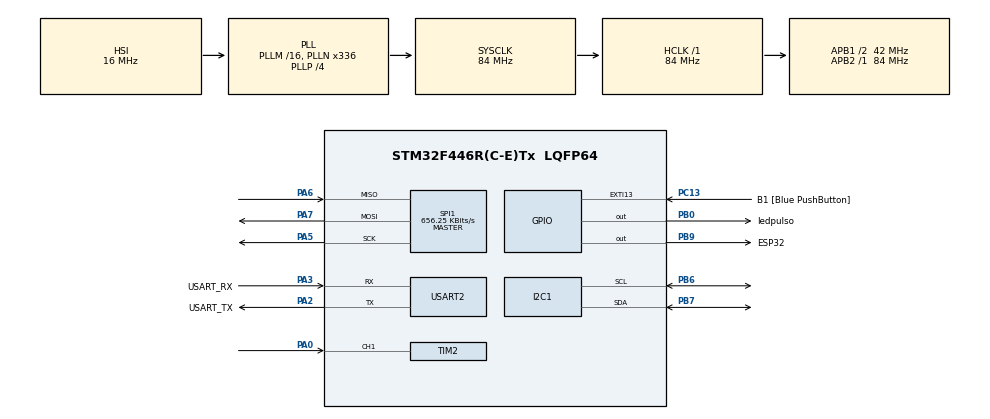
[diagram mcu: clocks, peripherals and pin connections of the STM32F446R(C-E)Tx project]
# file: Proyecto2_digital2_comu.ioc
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Mcu.Family=STM32F4
Mcu.Name=STM32F446R(C-E)Tx
Mcu.Package=LQFP64
NVIC.PriorityGroup=NVIC_PRIORITYGROUP_0
NVIC.SPI1_IRQn=true\:0\:0\:false\:false\:true\:true\:true\:true
NVIC.TIM2_IRQn=true\:0\:0\:false\:false\:true\:true\:true\:true
NVIC.USART2_IRQn=true\:0\:0\:false\:false\:true\:true\:true\:true
PA0-WKUP.Signal=S_TIM2_CH1_ETR
PA13.GPIO_Label=TMS
PA13.Signal=SYS_JTMS-SWDIO
PA14.GPIO_Label=TCK
PA14.Signal=SYS_JTCK-SWCLK
PA2.GPIO_Label=USART_TX
PA2.Mode=Asynchronous
PA2.Signal=USART2_TX
PA3.GPIO_Label=USART_RX
PA3.Mode=Asynchronous
PA3.Signal=USART2_RX
PA5.Mode=Full_Duplex_Master
PA5.Signal=SPI1_SCK
PA6.Mode=Full_Duplex_Master
PA6.Signal=SPI1_MISO
PA7.Mode=Full_Duplex_Master
PA7.Signal=SPI1_MOSI
PB0.GPIO_Label=ledpulso
PB0.Signal=GPIO_Output
PB3.GPIO_Label=SWO
PB3.Signal=SYS_JTDO-SWO
PB6.Mode=I2C
PB6.Signal=I2C1_SCL
PB7.Mode=I2C
PB7.Signal=I2C1_SDA
PB9.GPIO_Label=ESP32
PB9.PinState=GPIO_PIN_RESET
PB9.Signal=GPIO_Output
PC13.GPIO_Label=B1 [Blue PushButton]
PC13.GPIO_ModeDefaultEXTI=GPIO_MODE_IT_FALLING
PC13.Signal=GPXTI13
PC14-OSC32_IN.Signal=RCC_OSC32_IN
PC15-OSC32_OUT.Signal=RCC_OSC32_OUT
PH0-OSC_IN.Signal=RCC_OSC_IN
PH1-OSC_OUT.Signal=RCC_OSC_OUT
ProjectManager.HeapSize=0x200
ProjectManager.StackSize=0x400
ProjectManager.TargetToolchain=STM32CubeIDE
RCC.AHBFreq_Value=84000000
RCC.APB1CLKDivider=RCC_HCLK_DIV2
RCC.APB1Freq_Value=42000000
RCC.APB1TimFreq_Value=84000000
RCC.APB2Freq_Value=84000000
RCC.APB2TimFreq_Value=84000000
RCC.CortexFreq_Value=84000000
RCC.FLatency-AdvancedSettings=FLASH_LATENCY_2
RCC.HCLKFreq_Value=84000000
RCC.HSE_VALUE=8000000
RCC.HSI_VALUE=16000000
RCC.LSE_VALUE=32768
RCC.PLLN=336
RCC.PLLP=RCC_PLLP_DIV4
RCC.SYSCLKFreq_VALUE=84000000
RCC.SYSCLKSource=RCC_SYSCLKSOURCE_PLLCLK
RCC.USBFreq_Value=168000000
RCC.VCOOutputFreq_Value=336000000
SH.S_TIM2_CH1_ETR.0=TIM2_CH1,Input_Capture1_from_TI1
SPI1.BaudRatePrescaler=SPI_BAUDRATEPRESCALER_128
SPI1.CalculateBaudRate=656.25 KBits/s
SPI1.Direction=SPI_DIRECTION_2LINES
SPI1.Mode=SPI_MODE_MASTER
SPI1.VirtualType=VM_MASTER
TIM2.Channel-Input_Capture1_from_TI1=TIM_CHANNEL_1
TIM2.Prescaler=8399
USART2.VirtualMode=VM_ASYNC
VP_TIM2_VS_ClockSourceINT.Mode=Internal
board=NUCLEO-F446RE

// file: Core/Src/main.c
/* USER CODE BEGIN Header */
/**
  ******************************************************************************
  * @file           : main.c
  * @brief          : Proyecto 2 - Nucleo maestro UART / SPI / I2C (version con funciones)
  ******************************************************************************
  */
/* USER CODE END Header */
#include "main.h"

/* USER CODE BEGIN Includes */
#include <stdio.h>
#include <stdlib.h>
#include <string.h>
/* USER CODE END Includes */

/* USER CODE BEGIN PTD */
typedef enum {
  ESTADO_MENU,         // Esperando opcion 1 o 2
  ESTADO_SUBMENU_SPI   // Esperando comando "led,tiempo"
} EstadoMenu;
/* USER CODE END PTD */

/* USER CODE BEGIN PD */
#define DIRECCION_ESP32_I2C  (0x28 << 1)  // HAL usa la direccion desplazada
#define COMANDO_I2C_LEER_POT 0x01         // comando "dame una medicion"
#define ENCABEZADO_SPI       0xAA         // inicio de la trama SPI
#define LARGO_TRAMA_SPI      4            // [0xAA][led][ms alto][ms bajo]
#define LED_MAXIMO           3
#define TIEMPO_MAXIMO_MS     60000
#define LARGO_BUFFER_UART    16
/* USER CODE END PD */

I2C_HandleTypeDef hi2c1;

SPI_HandleTypeDef hspi1;

TIM_HandleTypeDef htim2;

UART_HandleTypeDef huart2;

/* USER CODE BEGIN PV */
EstadoMenu estadoActual = ESTADO_MENU;
char     lineaRecibida[LARGO_BUFFER_UART];
uint8_t  posicionLinea = 0;
/* USER CODE END PV */

void SystemClock_Config(void);
static void MX_GPIO_Init(void);
static void MX_SPI1_Init(void);
static void MX_USART2_UART_Init(void);
static void MX_I2C1_Init(void);
static void MX_TIM2_Init(void);
/* USER CODE BEGIN PFP */
static void UART_Print(const char *texto);
static uint8_t UART_LeerLinea(void);
static void MostrarMenuPrincipal(void);
static void MostrarMenuSPI(void);
static uint8_t ValidarComando(const char *texto, uint8_t *led, uint16_t *tiempoMs);
static HAL_StatusTypeDef SPI_EnviarComando(uint8_t led, uint16_t tiempoMs);
static HAL_StatusTypeDef I2C_LeerPotenciometro(uint8_t *valor);
static void I2C_Reiniciar(void);
static void I2C_Escanear(void);
static void AccionSPI(const char *texto);
static void AccionI2C(void);
static void ProcesarEstado(void);
static void Timer_ActualizarPulso(uint16_t tiempoMs);
/* USER CODE END PFP */

int main(void)
{

  /* MCU Configuration--------------------------------------------------------*/

  /* Reset of all peripherals, Initializes the Flash interface and the Systick. */
  HAL_Init();

  /* Configure the system clock */
  SystemClock_Config();

  /* Initialize all configured peripherals */
  MX_GPIO_Init();
  MX_SPI1_Init();
  MX_USART2_UART_Init();
  MX_I2C1_Init();
  MX_TIM2_Init();
  /* USER CODE BEGIN 2 */
  HAL_GPIO_WritePin(ESP32_GPIO_Port, ESP32_Pin, GPIO_PIN_SET);  // CS en reposo (alto)
  I2C_Escanear();          // muestra que dispositivos I2C encuentra (debe salir 0x28)
  MostrarMenuPrincipal();
  /* USER CODE END 2 */

  /* Infinite loop */
  while (1)
  {

    /* USER CODE BEGIN 3 */
    ProcesarEstado();
  }
  /* USER CODE END 3 */
}

void SystemClock_Config(void)
{
  RCC_OscInitTypeDef RCC_OscInitStruct = {0};
  RCC_ClkInitTypeDef RCC_ClkInitStruct = {0};

  /** Configure the main internal regulator output voltage
  */
  __HAL_RCC_PWR_CLK_ENABLE();
  __HAL_PWR_VOLTAGESCALING_CONFIG(PWR_REGULATOR_VOLTAGE_SCALE3);

  /** Initializes the RCC Oscillators according to the specified parameters
  * in the RCC_OscInitTypeDef structure.
  */
  RCC_OscInitStruct.OscillatorType = RCC_OSCILLATORTYPE_HSI;
  RCC_OscInitStruct.HSIState = RCC_HSI_ON;
  RCC_OscInitStruct.HSICalibrationValue = RCC_HSICALIBRATION_DEFAULT;
  RCC_OscInitStruct.PLL.PLLState = RCC_PLL_ON;
  RCC_OscInitStruct.PLL.PLLSource = RCC_PLLSOURCE_HSI;
  RCC_OscInitStruct.PLL.PLLM = 16;
  RCC_OscInitStruct.PLL.PLLN = 336;
  RCC_OscInitStruct.PLL.PLLP = RCC_PLLP_DIV4;
  RCC_OscInitStruct.PLL.PLLQ = 2;
  RCC_OscInitStruct.PLL.PLLR = 2;
  if (HAL_RCC_OscConfig(&RCC_OscInitStruct) != HAL_OK)
  {
    Error_Handler();
  }

  /** Initializes the CPU, AHB and APB buses clocks
  */
  RCC_ClkInitStruct.ClockType = RCC_CLOCKTYPE_HCLK|RCC_CLOCKTYPE_SYSCLK
                              |RCC_CLOCKTYPE_PCLK1|RCC_CLOCKTYPE_PCLK2;
  RCC_ClkInitStruct.SYSCLKSource = RCC_SYSCLKSOURCE_PLLCLK;
  RCC_ClkInitStruct.AHBCLKDivider = RCC_SYSCLK_DIV1;
  RCC_ClkInitStruct.APB1CLKDivider = RCC_HCLK_DIV2;
  RCC_ClkInitStruct.APB2CLKDivider = RCC_HCLK_DIV1;

  if (HAL_RCC_ClockConfig(&RCC_ClkInitStruct, FLASH_LATENCY_2) != HAL_OK)
  {
    Error_Handler();
  }
}

static void MX_I2C1_Init(void)
{

  hi2c1.Instance = I2C1;
  hi2c1.Init.ClockSpeed = 100000;
  hi2c1.Init.DutyCycle = I2C_DUTYCYCLE_2;
  hi2c1.Init.OwnAddress1 = 0;
  hi2c1.Init.AddressingMode = I2C_ADDRESSINGMODE_7BIT;
  hi2c1.Init.DualAddressMode = I2C_DUALADDRESS_DISABLE;
  hi2c1.Init.OwnAddress2 = 0;
  hi2c1.Init.GeneralCallMode = I2C_GENERALCALL_DISABLE;
  hi2c1.Init.NoStretchMode = I2C_NOSTRETCH_DISABLE;
  if (HAL_I2C_Init(&hi2c1) != HAL_OK)
  {
    Error_Handler();
  }

}

static void MX_SPI1_Init(void)
{

  /* SPI1 parameter configuration*/
  hspi1.Instance = SPI1;
  hspi1.Init.Mode = SPI_MODE_MASTER;
  hspi1.Init.Direction = SPI_DIRECTION_2LINES;
  hspi1.Init.DataSize = SPI_DATASIZE_8BIT;
  hspi1.Init.CLKPolarity = SPI_POLARITY_LOW;
  hspi1.Init.CLKPhase = SPI_PHASE_1EDGE;
  hspi1.Init.NSS = SPI_NSS_SOFT;
  hspi1.Init.BaudRatePrescaler = SPI_BAUDRATEPRESCALER_128;
  hspi1.Init.FirstBit = SPI_FIRSTBIT_MSB;
  hspi1.Init.TIMode = SPI_TIMODE_DISABLE;
  hspi1.Init.CRCCalculation = SPI_CRCCALCULATION_DISABLE;
  hspi1.Init.CRCPolynomial = 10;
  if (HAL_SPI_Init(&hspi1) != HAL_OK)
  {
    Error_Handler();
  }

}

static void MX_TIM2_Init(void)
{

  TIM_ClockConfigTypeDef sClockSourceConfig = {0};
  TIM_MasterConfigTypeDef sMasterConfig = {0};
  TIM_IC_InitTypeDef sConfigIC = {0};

  htim2.Instance = TIM2;
  htim2.Init.Prescaler = 8399;
  htim2.Init.CounterMode = TIM_COUNTERMODE_UP;
  htim2.Init.Period = 4294967295;
  htim2.Init.ClockDivision = TIM_CLOCKDIVISION_DIV1;
  htim2.Init.AutoReloadPreload = TIM_AUTORELOAD_PRELOAD_DISABLE;
  if (HAL_TIM_Base_Init(&htim2) != HAL_OK)
  {
    Error_Handler();
  }
  sClockSourceConfig.ClockSource = TIM_CLOCKSOURCE_INTERNAL;
  if (HAL_TIM_ConfigClockSource(&htim2, &sClockSourceConfig) != HAL_OK)
  {
    Error_Handler();
  }
  if (HAL_TIM_IC_Init(&htim2) != HAL_OK)
  {
    Error_Handler();
  }
  sMasterConfig.MasterOutputTrigger = TIM_TRGO_RESET;
  sMasterConfig.MasterSlaveMode = TIM_MASTERSLAVEMODE_DISABLE;
  if (HAL_TIMEx_MasterConfigSynchronization(&htim2, &sMasterConfig) != HAL_OK)
  {
    Error_Handler();
  }
  sConfigIC.ICPolarity = TIM_INPUTCHANNELPOLARITY_RISING;
  sConfigIC.ICSelection = TIM_ICSELECTION_DIRECTTI;
  sConfigIC.ICPrescaler = TIM_ICPSC_DIV1;
  sConfigIC.ICFilter = 0;
  if (HAL_TIM_IC_ConfigChannel(&htim2, &sConfigIC, TIM_CHANNEL_1) != HAL_OK)
  {
    Error_Handler();
  }

}

static void MX_USART2_UART_Init(void)
{

  huart2.Instance = USART2;
  huart2.Init.BaudRate = 115200;
  huart2.Init.WordLength = UART_WORDLENGTH_8B;
  huart2.Init.StopBits = UART_STOPBITS_1;
  huart2.Init.Parity = UART_PARITY_NONE;
  huart2.Init.Mode = UART_MODE_TX_RX;
  huart2.Init.HwFlowCtl = UART_HWCONTROL_NONE;
  huart2.Init.OverSampling = UART_OVERSAMPLING_16;
  if (HAL_UART_Init(&huart2) != HAL_OK)
  {
    Error_Handler();
  }

}

static void MX_GPIO_Init(void)
{
  GPIO_InitTypeDef GPIO_InitStruct = {0};

  /* GPIO Ports Clock Enable */
  __HAL_RCC_GPIOC_CLK_ENABLE();
  __HAL_RCC_GPIOH_CLK_ENABLE();
  __HAL_RCC_GPIOA_CLK_ENABLE();
  __HAL_RCC_GPIOB_CLK_ENABLE();

  /*Configure GPIO pin Output Level */
  HAL_GPIO_WritePin(GPIOB, ledpulso_Pin|ESP32_Pin, GPIO_PIN_RESET);

  /*Configure GPIO pin : B1_Pin */
  GPIO_InitStruct.Pin = B1_Pin;
  GPIO_InitStruct.Mode = GPIO_MODE_IT_FALLING;
  GPIO_InitStruct.Pull = GPIO_NOPULL;
  HAL_GPIO_Init(B1_GPIO_Port, &GPIO_InitStruct);

  /*Configure GPIO pins : ledpulso_Pin ESP32_Pin */
  GPIO_InitStruct.Pin = ledpulso_Pin|ESP32_Pin;
  GPIO_InitStruct.Mode = GPIO_MODE_OUTPUT_PP;
  GPIO_InitStruct.Pull = GPIO_NOPULL;
  GPIO_InitStruct.Speed = GPIO_SPEED_FREQ_LOW;
  HAL_GPIO_Init(GPIOB, &GPIO_InitStruct);

}

/* USER CODE BEGIN 4 */

/* ------------------------------ UART ------------------------------------- */

// Envia un texto por UART2 a la terminal
static void UART_Print(const char *texto)
{
  HAL_UART_Transmit(&huart2, (uint8_t *)texto, strlen(texto), HAL_MAX_DELAY);
}

// Lectura sin bloqueo: junta caracteres y devuelve 1 cuando se presiona Enter
static uint8_t UART_LeerLinea(void)
{
  if (!__HAL_UART_GET_FLAG(&huart2, UART_FLAG_RXNE)) return 0;

  uint8_t caracter = (uint8_t)(huart2.Instance->DR & 0xFF);

  if (caracter == '\r' || caracter == '\n') {
    if (posicionLinea == 0) return 0;      // ignora el segundo caracter de "\r\n"
    lineaRecibida[posicionLinea] = '\0';
    posicionLinea = 0;
    return 1;
  }
  if ((caracter == 0x08 || caracter == 0x7F) && posicionLinea > 0) {  // borrar
    posicionLinea--;
    UART_Print("\b \b");
    return 0;
  }
  if (posicionLinea < LARGO_BUFFER_UART - 1 && caracter >= ' ') {
    lineaRecibida[posicionLinea++] = caracter;
    HAL_UART_Transmit(&huart2, &caracter, 1, 10);  // eco
  }
  return 0;
}

/* ------------------------------ Menus ------------------------------------ */

static void MostrarMenuPrincipal(void)
{
  UART_Print("\r\n===== MENU PRINCIPAL =====\r\n"
             "1. Controlar dispositivo SPI\r\n"
             "2. Obtener medicion de sensor I2C\r\n"
             "Opcion: ");
  estadoActual = ESTADO_MENU;
}

static void MostrarMenuSPI(void)
{
  UART_Print("\r\n--- Dispositivo SPI ---\r\n"
             "Formato: led,tiempo_ms  (1=Rojo 2=Amarillo 3=Verde)\r\n"
             "Ejemplo: 1,500\r\n"
             "Comando: ");
  estadoActual = ESTADO_SUBMENU_SPI;
}

/* ------------------------------ Validacion ------------------------------- */

// Valida "led,tiempo". Devuelve 1 si es correcto y entrega led y tiempo.
static uint8_t ValidarComando(const char *texto, uint8_t *led, uint16_t *tiempoMs)
{
  char *final;
  char *inicio;

  long numeroLed = strtol(texto, &final, 10);
  if (final == texto) return 0;
  while (*final == ' ') final++;
  if (*final != ',') return 0;
  final++;

  inicio = final;
  long tiempo = strtol(inicio, &final, 10);
  if (final == inicio) return 0;
  while (*final == ' ') final++;
  if (*final != '\0') return 0;

  if (numeroLed < 1 || numeroLed > LED_MAXIMO) return 0;
  if (tiempo < 1 || tiempo > TIEMPO_MAXIMO_MS) return 0;

  *led = (uint8_t)numeroLed;
  *tiempoMs = (uint16_t)tiempo;
  return 1;
}

/* ------------------------------ SPI -------------------------------------- */

// Trama: [0xAA][led][ms alto][ms bajo]. CS en bajo durante toda la trama.
static HAL_StatusTypeDef SPI_EnviarComando(uint8_t led, uint16_t tiempoMs)
{
  uint8_t datosEnviar[LARGO_TRAMA_SPI] = { ENCABEZADO_SPI, led, (uint8_t)(tiempoMs >> 8), (uint8_t)(tiempoMs & 0xFF) };
  uint8_t datosRecibidos[LARGO_TRAMA_SPI];

  HAL_GPIO_WritePin(ESP32_GPIO_Port, ESP32_Pin, GPIO_PIN_RESET);
  HAL_StatusTypeDef resultado = HAL_SPI_TransmitReceive(&hspi1, datosEnviar, datosRecibidos, LARGO_TRAMA_SPI, 100);
  HAL_GPIO_WritePin(ESP32_GPIO_Port, ESP32_Pin, GPIO_PIN_SET);
  return resultado;
}

static void AccionSPI(const char *texto)
{
  uint8_t  led;
  uint16_t tiempoMs;
  char     mensaje[128];

  if (!ValidarComando(texto, &led, &tiempoMs)) {
    UART_Print("Comando invalido. Intente de nuevo.\r\n");
    MostrarMenuSPI();
    return;
  }

  Timer_ActualizarPulso(tiempoMs);   // Parte 5: actualiza el pulso con el mismo comando

  if (SPI_EnviarComando(led, tiempoMs) == HAL_OK) {
    snprintf(mensaje, sizeof(mensaje),
             "Enviado por SPI: LED %u durante %u ms\r\nPulso: %u ms alto, %u ms bajo\r\n",
             led, tiempoMs, tiempoMs, tiempoMs);
    UART_Print(mensaje);
  } else {
    UART_Print("Error en la comunicacion SPI.\r\n");
  }
  MostrarMenuPrincipal();
}

/* ------------------------------ I2C -------------------------------------- */

// Reinicia el periferico I2C (limpia el bus despues de un error)
static void I2C_Reiniciar(void)
{
  HAL_I2C_DeInit(&hi2c1);
  MX_I2C1_Init();
}

// Prueba todas las direcciones e imprime las que responden
// Revisa una sola vez, al arrancar, si el ESP32 responde por I2C
static void I2C_Escanear(void)
{
  if (HAL_I2C_IsDeviceReady(&hi2c1, DIRECCION_ESP32_I2C, 3, 50) == HAL_OK) {
    UART_Print("\r\nI2C: ESP32 detectado (0x28)\r\n");
  } else {
    UART_Print("\r\nI2C: ESP32 NO detectado\r\n");
  }
}

// Pide la medicion al ESP32 (escribe el comando) y lee 1 byte (0-255)
static HAL_StatusTypeDef I2C_LeerPotenciometro(uint8_t *valor)
{
  uint8_t comando = COMANDO_I2C_LEER_POT;
  uint8_t datoViejo;

  if (HAL_I2C_Master_Transmit(&hi2c1, DIRECCION_ESP32_I2C, &comando, 1, 100) != HAL_OK) {
    UART_Print("Fallo al ESCRIBIR el comando.\r\n");
    return HAL_ERROR;
  }
  // Primera lectura: llega el dato anterior, se descarta
  if (HAL_I2C_Master_Receive(&hi2c1, DIRECCION_ESP32_I2C, &datoViejo, 1, 100) != HAL_OK) {
    UART_Print("Fallo al LEER el dato.\r\n");
    return HAL_ERROR;
  }
  // Segunda lectura: dato actualizado
  if (HAL_I2C_Master_Receive(&hi2c1, DIRECCION_ESP32_I2C, valor, 1, 100) != HAL_OK) {
    UART_Print("Fallo al LEER el dato.\r\n");
    return HAL_ERROR;
  }
  return HAL_OK;
}

static void AccionI2C(void)
{
  uint8_t valor;
  char    mensaje[64];

  if (I2C_LeerPotenciometro(&valor) == HAL_OK) {
    uint32_t milivoltios = (uint32_t)valor * 3300U / 255U;   // sin printf de float
    snprintf(mensaje, sizeof(mensaje), "Pot1: %u (0-255) = %lu.%02lu V\r\n",
             valor, (unsigned long)(milivoltios / 1000), (unsigned long)((milivoltios % 1000) / 10));
  } else {
    snprintf(mensaje, sizeof(mensaje), "Error I2C. Codigo: 0x%02lX\r\n",
             (unsigned long)HAL_I2C_GetError(&hi2c1));
    I2C_Reiniciar();
  }
  UART_Print(mensaje);
}

/* ------------------------------ Maquina de estados ----------------------- */

static void ProcesarEstado(void)
{
  if (!UART_LeerLinea()) return;
  UART_Print("\r\n");

  switch (estadoActual) {
    case ESTADO_MENU:
      if (strcmp(lineaRecibida, "1") == 0) {
        MostrarMenuSPI();
      } else if (strcmp(lineaRecibida, "2") == 0) {
        AccionI2C();
        MostrarMenuPrincipal();
      } else {
        UART_Print("Opcion invalida.\r\n");
        MostrarMenuPrincipal();
      }
      break;

    case ESTADO_SUBMENU_SPI:
      AccionSPI(lineaRecibida);
      break;
  }
}

// Cambia el tiempo en alto y en bajo del pulso sin detener el programa
static void Timer_ActualizarPulso(uint16_t tiempoMs)
{
  uint32_t ticks = (uint32_t)tiempoMs * 10;        // 1 tick = 0.1 ms

  __HAL_TIM_SET_AUTORELOAD(&htim2, ticks - 1);
  __HAL_TIM_SET_COUNTER(&htim2, 0);
  HAL_GPIO_WritePin(ledpulso_GPIO_Port, ledpulso_Pin, GPIO_PIN_SET);  // empieza en alto
  HAL_TIM_Base_Start_IT(&htim2);
}

// Cada vez que se cumple el tiempo, el pin cambia de estado
void HAL_TIM_PeriodElapsedCallback(TIM_HandleTypeDef *htim)
{
  if (htim->Instance == TIM2) {
    HAL_GPIO_TogglePin(ledpulso_GPIO_Port, ledpulso_Pin);
  }
}

/* USER CODE END 4 */

void Error_Handler(void)
{
  __disable_irq();
  while (1)
  {
  }
}
